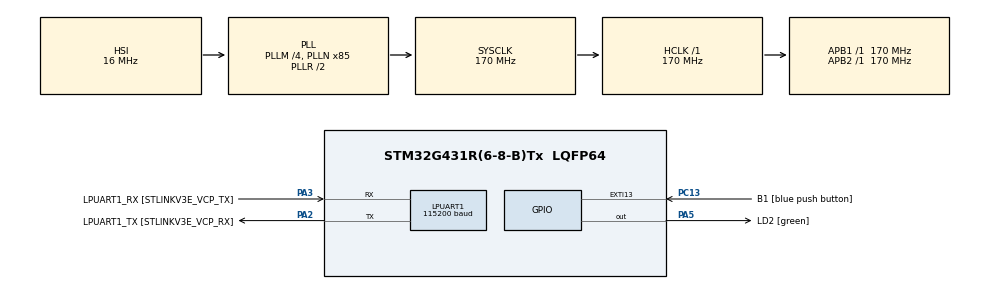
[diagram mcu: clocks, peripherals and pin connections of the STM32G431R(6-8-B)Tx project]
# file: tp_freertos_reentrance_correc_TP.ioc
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FREERTOS.Tasks01=defaultTask,0,128,StartDefaultTask,Default,NULL,Dynamic,NULL,NULL
FREERTOS.configTOTAL_HEAP_SIZE=15000
LPUART1.BaudRate=115200
LPUART1.WordLength=UART_WORDLENGTH_8B
Mcu.Family=STM32G4
Mcu.Name=STM32G431R(6-8-B)Tx
Mcu.Package=LQFP64
NVIC.PriorityGroup=NVIC_PRIORITYGROUP_4
NVIC.TIM6_DAC_IRQn=true\:15\:0\:false\:false\:true\:false\:false\:true\:true
NVIC.TimeBase=TIM6_DAC_IRQn
NVIC.TimeBaseIP=TIM6
PA13.GPIO_Label=T_SWDIO
PA13.Mode=Serial_Wire
PA13.Signal=SYS_JTMS-SWDIO
PA14.GPIO_Label=T_SWCLK
PA14.Mode=Serial_Wire
PA14.Signal=SYS_JTCK-SWCLK
PA2.GPIO_Label=LPUART1_TX [STLINKV3E_VCP_RX]
PA2.Mode=Asynchronous
PA2.Signal=LPUART1_TX
PA3.GPIO_Label=LPUART1_RX [STLINKV3E_VCP_TX]
PA3.Mode=Asynchronous
PA3.Signal=LPUART1_RX
PA5.GPIO_Label=LD2 [green]
PA5.Signal=GPIO_Output
PB3.GPIO_Label=T_SWO
PB3.Signal=SYS_JTDO-SWO
PC13.GPIO_Label=B1 [blue push button]
PC13.Signal=GPXTI13
PC14-OSC32_IN.Mode=LSE-External-Oscillator
PC14-OSC32_IN.Signal=RCC_OSC32_IN
PC15-OSC32_OUT.Mode=LSE-External-Oscillator
PC15-OSC32_OUT.Signal=RCC_OSC32_OUT
PF0-OSC_IN.Mode=HSE-External-Oscillator
PF0-OSC_IN.Signal=RCC_OSC_IN
PF1-OSC_OUT.Mode=HSE-External-Oscillator
PF1-OSC_OUT.Signal=RCC_OSC_OUT
ProjectManager.HeapSize=0x200
ProjectManager.StackSize=0x400
ProjectManager.TargetToolchain=STM32CubeIDE
RCC.ADC12Freq_Value=170000000
RCC.AHBFreq_Value=170000000
RCC.APB1Freq_Value=170000000
RCC.APB1TimFreq_Value=170000000
RCC.APB2Freq_Value=170000000
RCC.APB2TimFreq_Value=170000000
RCC.CortexFreq_Value=170000000
RCC.EXTERNAL_CLOCK_VALUE=12288000
RCC.HCLKFreq_Value=170000000
RCC.HSE_VALUE=24000000
RCC.HSI48_VALUE=48000000
RCC.HSI_VALUE=16000000
RCC.PLLM=RCC_PLLM_DIV4
RCC.PLLN=85
RCC.RTCClockSelection=RCC_RTCCLKSOURCE_LSE
RCC.SYSCLKFreq_VALUE=170000000
RCC.SYSCLKSource=RCC_SYSCLKSOURCE_PLLCLK
RCC.USBFreq_Value=170000000
RCC.VCOOutputFreq_Value=340000000
VP_FREERTOS_VS_CMSIS_V1.Mode=CMSIS_V1
VP_SYS_VS_DBSignals.Mode=DisableDeadBatterySignals
VP_SYS_VS_tim6.Mode=TIM6
board=NUCLEO-G431RB

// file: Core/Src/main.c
/* USER CODE BEGIN Header */
/**
 ******************************************************************************
 * @file           : main.c
 * @brief          : Main program body
 ******************************************************************************
 * @attention
 *
 * Copyright (c) 2023 STMicroelectronics.
 * All rights reserved.
 *
 * This software is licensed under terms that can be found in the LICENSE file
 * in the root directory of this software component.
 * If no LICENSE file comes with this software, it is provided AS-IS.
 *
 ******************************************************************************
 */
/* USER CODE END Header */
#include "main.h"
#include "cmsis_os.h"
#include "usart.h"
#include "gpio.h"

/* USER CODE BEGIN Includes */
#include <stdio.h>
/* USER CODE END Includes */

/* USER CODE BEGIN PD */
#define STACK_SIZE 256

#define TASK1_PRIORITY 1
#define TASK2_PRIORITY 2

#define TASK1_DELAY 1
#define TASK2_DELAY 2
/* USER CODE END PD */

/* USER CODE BEGIN PV */
SemaphoreHandle_t semaMutex;
/* USER CODE END PV */

void SystemClock_Config(void);
void MX_FREERTOS_Init(void);

/* USER CODE BEGIN 0 */
int __io_putchar(int ch)
{
	HAL_UART_Transmit(&hlpuart1, (uint8_t *)&ch, 1, HAL_MAX_DELAY);
	return ch;
}

void task1(void * pvParameters)
{
	int delay = (int) pvParameters;

	for(;;)
	{
		xSemaphoreTake( semaMutex, ( TickType_t ) 10 );
		printf("Je suis la tache 1 et je m'endors pour %d ticks\r\n", delay);
		xSemaphoreGive( semaMutex );
		vTaskDelay(delay);
	}
}

void task2(void * pvParameters)
{
	int delay2 = (int) pvParameters;

	for(;;)
	{
		xSemaphoreTake( semaMutex, ( TickType_t ) 10 );
		printf("Je suis la tache 2 et je m'endors pour %d ticks\r\n", delay2);
		xSemaphoreGive( semaMutex );
		vTaskDelay(delay2);
	}
}
/* USER CODE END 0 */

int main(void)
{

	/* MCU Configuration--------------------------------------------------------*/

	/* Reset of all peripherals, Initializes the Flash interface and the Systick. */
	HAL_Init();

	/* Configure the system clock */
	SystemClock_Config();

	/* Initialize all configured peripherals */
	MX_GPIO_Init();
	MX_LPUART1_UART_Init();
	/* USER CODE BEGIN 2 */
	semaMutex = xSemaphoreCreateMutex();

	BaseType_t ret;
	TaskHandle_t h_task1 = NULL;
	TaskHandle_t h_task2 = NULL;

	/* Create the task, storing the handle. */
	ret = xTaskCreate(task1, "Tache 1", STACK_SIZE, (void *) TASK1_DELAY, TASK1_PRIORITY, &h_task1);
	configASSERT(pdPASS == ret);
	ret = xTaskCreate(task2, "Tache 2", STACK_SIZE, (void *) TASK2_DELAY, TASK2_PRIORITY, &h_task2);
	configASSERT(pdPASS == ret);

	vTaskStartScheduler();
	/* USER CODE END 2 */

	/* Call init function for freertos objects (in freertos.c) */
	MX_FREERTOS_Init();

	/* Start scheduler */
	osKernelStart();

	/* We should never get here as control is now taken by the scheduler */
	/* Infinite loop */
	while (1)
	{

	}
}

void SystemClock_Config(void)
{
	RCC_OscInitTypeDef RCC_OscInitStruct = {0};
	RCC_ClkInitTypeDef RCC_ClkInitStruct = {0};

	/** Configure the main internal regulator output voltage
	 */
	HAL_PWREx_ControlVoltageScaling(PWR_REGULATOR_VOLTAGE_SCALE1_BOOST);

	/** Initializes the RCC Oscillators according to the specified parameters
	 * in the RCC_OscInitTypeDef structure.
	 */
	RCC_OscInitStruct.OscillatorType = RCC_OSCILLATORTYPE_HSI;
	RCC_OscInitStruct.HSIState = RCC_HSI_ON;
	RCC_OscInitStruct.HSICalibrationValue = RCC_HSICALIBRATION_DEFAULT;
	RCC_OscInitStruct.PLL.PLLState = RCC_PLL_ON;
	RCC_OscInitStruct.PLL.PLLSource = RCC_PLLSOURCE_HSI;
	RCC_OscInitStruct.PLL.PLLM = RCC_PLLM_DIV4;
	RCC_OscInitStruct.PLL.PLLN = 85;
	RCC_OscInitStruct.PLL.PLLP = RCC_PLLP_DIV2;
	RCC_OscInitStruct.PLL.PLLQ = RCC_PLLQ_DIV2;
	RCC_OscInitStruct.PLL.PLLR = RCC_PLLR_DIV2;
	if (HAL_RCC_OscConfig(&RCC_OscInitStruct) != HAL_OK)
	{
		Error_Handler();
	}

	/** Initializes the CPU, AHB and APB buses clocks
	 */
	RCC_ClkInitStruct.ClockType = RCC_CLOCKTYPE_HCLK|RCC_CLOCKTYPE_SYSCLK
			|RCC_CLOCKTYPE_PCLK1|RCC_CLOCKTYPE_PCLK2;
	RCC_ClkInitStruct.SYSCLKSource = RCC_SYSCLKSOURCE_PLLCLK;
	RCC_ClkInitStruct.AHBCLKDivider = RCC_SYSCLK_DIV1;
	RCC_ClkInitStruct.APB1CLKDivider = RCC_HCLK_DIV1;
	RCC_ClkInitStruct.APB2CLKDivider = RCC_HCLK_DIV1;

	if (HAL_RCC_ClockConfig(&RCC_ClkInitStruct, FLASH_LATENCY_4) != HAL_OK)
	{
		Error_Handler();
	}
}

void HAL_TIM_PeriodElapsedCallback(TIM_HandleTypeDef *htim)
{
	if (htim->Instance == TIM6) {
		HAL_IncTick();
	}
}

void Error_Handler(void)
{
	__disable_irq();
	while (1)
	{
	}
}
